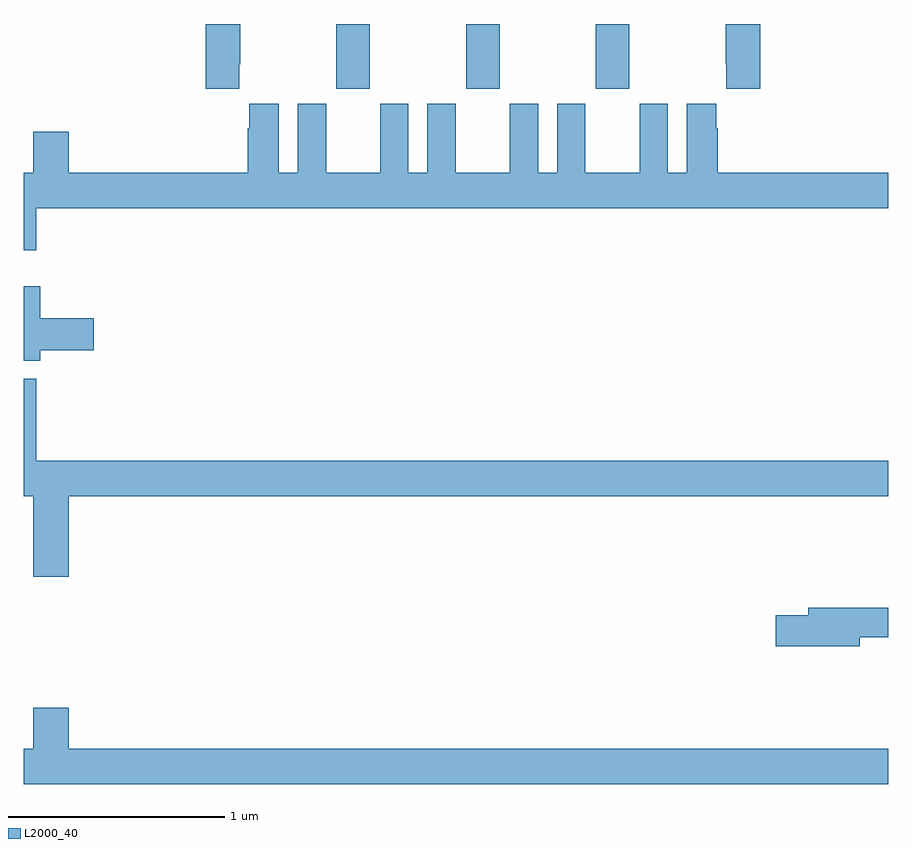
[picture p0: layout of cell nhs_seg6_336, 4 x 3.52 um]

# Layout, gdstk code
import gdstk
lib = gdstk.Library(unit=1e-6, precision=1e-09)
def R(c, l, rs):  # rectangles x0, y0, x1, y1
    for r in rs: c.add(gdstk.rectangle(r[:2], r[2:], *l))
def A(c, l, x, y, w, h, nx, ny, dx, dy):  # array of equal rectangles
    R(c, l, [(x+i*dx, y+j*dy, x+i*dx+w, y+j*dy+h) for i in range(nx) for j in range(ny)])
def P(c, l, *ps):  # polygons
    for p in ps: c.add(gdstk.Polygon(p, *l))
L2000_40 = (2000, 40)

nhs_seg6_336 = lib.new_cell('nhs_seg6_336')
A(nhs_seg6_336, L2000_40, 130.447, 969.201, 0.155, 0.299, 3, 1, 0.6, 0)
P(nhs_seg6_336, L2000_40, [(132.407,969.5),(132.247,969.5),(132.247,969.313),(132.251,969.313),(132.251,969.201),(132.407,969.201)],
  [(129.997,969.313),(130.002,969.313),(130.002,969.5),(129.842,969.5),(129.842,969.201),(129.997,969.201)],
  [(129.059,968.648),(133,968.648),(133,968.812),(132.212,968.812),(132.212,969.017),(132.205,969.017),(132.205,969.13),(132.068,969.13),(132.068,968.812),(131.98,968.812),(131.98,969.13),(131.849,969.13),(131.849,968.812),(131.599,968.812),(131.599,969.13),(131.468,969.13),(131.468,968.812),(131.38,968.812),(131.38,969.13),(131.249,969.13),(131.249,968.812),(130.999,968.812),(130.999,969.13),(130.868,969.13),(130.868,968.812),(130.78,968.812),(130.78,969.13),(130.649,969.13),(130.649,968.812),(130.399,968.812),(130.399,969.13),(130.268,969.13),(130.268,968.812),(130.18,968.812),(130.18,969.13),(130.043,969.13),(130.043,969.017),(130.037,969.017),(130.037,968.812),(129.208,968.812),(129.208,969.001),(129.044,969.001),(129.044,968.812),(129,968.812),(129,968.454),(129.059,968.454)],
  [(129.076,967.991),(129.325,967.991),(129.325,968.138),(129.076,968.138),(129.076,968.287),(129,968.287),(129,967.943),(129.076,967.943)],
  [(129.208,967.316),(133,967.316),(133,967.48),(129.059,967.48),(129.059,967.858),(129,967.858),(129,967.316),(129.044,967.316),(129.044,966.942),(129.208,966.942)],
  [(132.868,966.664),(133,966.664),(133,966.8),(132.629,966.8),(132.629,966.764),(132.48,966.764),(132.48,966.622),(132.868,966.622)],
  [(133,966.148),(129.208,966.148),(129.208,966.337),(129.044,966.337),(129.044,966.148),(129,966.148),(129,965.984),(133,965.984)])

lib.write_gds('nhs_seg6_336.gds')
